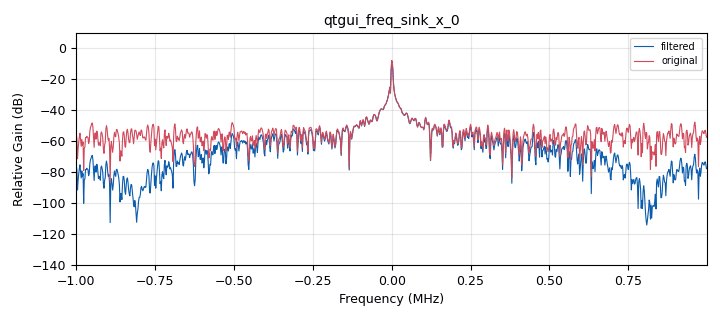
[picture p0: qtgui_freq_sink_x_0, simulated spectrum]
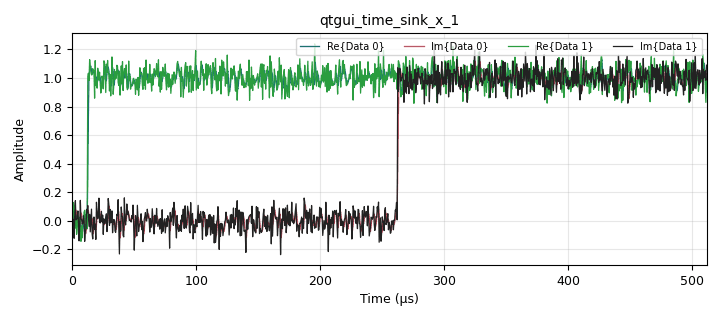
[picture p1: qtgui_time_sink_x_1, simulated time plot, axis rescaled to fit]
options:
  parameters:
    author: fjone
    generate_options: qt_gui
    id: filter_test
    output_language: python
    title: Not titled yet
  states: {}

blocks:
- name: Amp
  id: variable_qtgui_range
  parameters:
    gui_hint: '[1,1]'
    label: Amp
    start: '0'
    step: '0.1'
    stop: '100'
    value: '1'
  states: {}
- name: freq
  id: variable_qtgui_range
  parameters:
    gui_hint: '[3,1]'
    label: freq
    start: '1'
    step: '1'
    stop: 1e6
    value: 1e3
  states: {}
- name: gause_amp
  id: variable_qtgui_range
  parameters:
    gui_hint: '[2,1]'
    label: gause noise amp
    start: '0'
    step: '0.01'
    stop: '1'
    value: '0.1'
  states: {}
- name: samp_rate
  id: variable
  parameters:
    value: 2e6
  states: {}
- name: analog_noise_source_x_0
  id: analog_noise_source_x
  parameters:
    amp: gause_amp
    noise_type: analog.GR_GAUSSIAN
    seed: '0'
    type: complex
  states: {}
- name: analog_sig_source_x_0
  id: analog_sig_source_x
  parameters:
    amp: '1'
    freq: freq
    offset: '0'
    phase: '0'
    samp_rate: samp_rate
    showports: 'True'
    type: complex
    waveform: analog.GR_SQR_WAVE
  states: {}
- name: blocks_add_xx_0
  id: blocks_add_xx
  parameters:
    num_inputs: '3'
    type: complex
  states: {}
- name: blocks_add_xx_0_0
  id: blocks_add_xx
  parameters:
    type: complex
  states: {}
- name: blocks_delay_0
  id: blocks_delay
  parameters:
    delay: '0'
    type: complex
  states: {}
- name: blocks_delay_0_0
  id: blocks_delay
  parameters:
    delay: '1'
    type: complex
  states: {}
- name: blocks_delay_0_0_0
  id: blocks_delay
  parameters:
    delay: '2'
    type: complex
  states: {}
- name: blocks_exponentiate_const_cci_0
  id: blocks_exponentiate_const_cci
  parameters:
    exponent: '1'
  states: {}
- name: blocks_multiply_const_vxx_0
  id: blocks_multiply_const_vxx
  parameters:
    const: 1/(2+math.exp(1/(2*Amp*Amp)))
    type: complex
  states: {}
- name: blocks_multiply_const_vxx_0_0
  id: blocks_multiply_const_vxx
  parameters:
    const: math.exp(1/(2*Amp*Amp))/(2+math.exp(1/(2*Amp*Amp)))
    type: complex
  states: {}
- name: blocks_multiply_const_vxx_0_1
  id: blocks_multiply_const_vxx
  parameters:
    const: 1/(2+math.exp(1/(2*Amp*Amp)))
    type: complex
  states: {}
- name: import_0
  id: import
  parameters:
    imports: import math
  states: {}
- name: qtgui_freq_sink_x_0
  id: qtgui_freq_sink_x
  parameters:
    bw: samp_rate
    ctrlpanel: 'True'
    fc: '0'
    fftsize: '1024'
    grid: 'True'
    label1: filtered
    label2: original
    nconnections: '2'
    type: complex
  states: {}
- name: qtgui_time_sink_x_1
  id: qtgui_time_sink_x
  parameters:
    ctrlpanel: 'True'
    grid: 'True'
    nconnections: '2'
    size: '1024'
    srate: samp_rate
    type: complex
  states: {}

connections:
- [analog_noise_source_x_0, '0', blocks_add_xx_0_0, '1']
- [analog_sig_source_x_0, '0', blocks_exponentiate_const_cci_0, '0']
- [blocks_add_xx_0, '0', qtgui_freq_sink_x_0, '0']
- [blocks_add_xx_0, '0', qtgui_time_sink_x_1, '0']
- [blocks_add_xx_0_0, '0', blocks_delay_0, '0']
- [blocks_add_xx_0_0, '0', blocks_delay_0_0, '0']
- [blocks_add_xx_0_0, '0', blocks_delay_0_0_0, '0']
- [blocks_add_xx_0_0, '0', qtgui_freq_sink_x_0, '1']
- [blocks_add_xx_0_0, '0', qtgui_time_sink_x_1, '1']
- [blocks_delay_0, '0', blocks_multiply_const_vxx_0, '0']
- [blocks_delay_0_0, '0', blocks_multiply_const_vxx_0_0, '0']
- [blocks_delay_0_0_0, '0', blocks_multiply_const_vxx_0_1, '0']
- [blocks_exponentiate_const_cci_0, '0', blocks_add_xx_0_0, '0']
- [blocks_multiply_const_vxx_0, '0', blocks_add_xx_0, '0']
- [blocks_multiply_const_vxx_0_0, '0', blocks_add_xx_0, '1']
- [blocks_multiply_const_vxx_0_1, '0', blocks_add_xx_0, '2']

metadata:
  file_format: 1
  grc_version: 3.10.7.0
